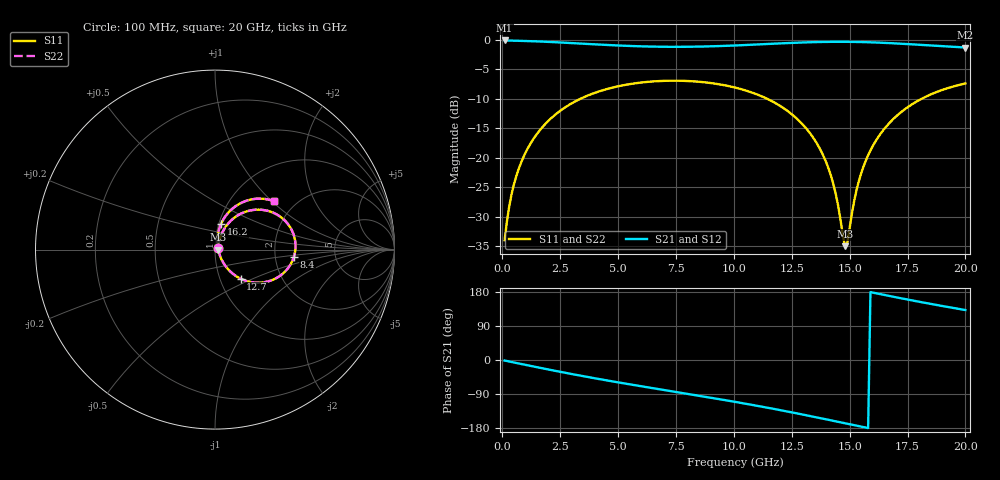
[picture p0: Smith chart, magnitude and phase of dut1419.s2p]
! Touchstone file exported from HFSS 2026.1.0
!  File:  C:/ffzhzh/LocalFiles/Ansys_Project_Files/temp_train_TSV_RDL_1419_1783354206_37376.aedt
!  Generated:  12:18:58 AM Jul  7, 2026
!  Design:  TSV_RDL
!  Project:  temp_train_TSV_RDL_1419_1783354206_37376
! Variables:
!  h_bsmrdl = 5.62um
!  h_ox = 20um
!  h_rdl = 5um
!  h_sub = 83.79um
!  h_tmrdl = 3.45um
!  h_tsv = 83.79um
!  h_via = 3um
!  l_bsmrdl = 103.35um
!  l_sub = 3614.15um
!  l_tmrdl = 689.65um
!  m_sub = 200um
!  pitch = 46.19um
!  r_tsv = 11.51um
!  s_tmrdl = 10um
!  w_bsmrdl = 28.84um
!  w_sub = 500um
!  w_tmrdl = 19.66um
!  x_tsv_center1 = 699.48um
!  x_tsv_center2 = 831.67um
!  x_tsv_center3 = 1540.98um
!  x_tsv_center4 = 1673.17um
!  x_tsv_center5 = 2382.48um
!  x_tsv_center6 = 2514.67um
# GHz S MA R 50.000000
! Terminal data exported
! Port[1] = TM_RDL1_1_T1
! Port[2] = TM_RDL5_1_T1
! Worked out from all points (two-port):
!   200 points, 100 MHz to 20 GHz, reference 50 ohm
!   highest |S21| = -0.14 dB at 100 MHz (marker M1); lowest = -1.3 dB at 20 GHz (marker M2)
!   |S21| within 3 dB of the highest: start of sweep to end of sweep
!   lowest |S11| = -34.9 dB at 14.8 GHz (marker M3), VSWR 1.04, Z = 51.8 + j0.00515 ohm
!   |S11| at or under -10 dB: start of sweep to 3.38 GHz; 11.43 GHz to 18.11 GHz (6.68 GHz wide, 45.2 % of centre)
!   |S22| runs from -34.9 to -6.9 dB; largest |S21 - S12| = 1.7e-14
!   S11 on the Smith chart (normalised r, x): 100 MHz: 1.03, +0.02; 8.4 GHz: 2.55, -0.25; 12.7 GHz: 1.25, -0.43; 16.2 GHz: 1.02, +0.30; 20 GHz: 1.57, +1.03
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0.1  0.0201 35.2  0.9838 -1.3  0.9838 -1.3  0.0201 35.2
! Gamma 0 0 0 0
! Port Impedance 50 0 50 0
0.3  0.03896 59.2  0.9818 -4.0  0.9818 -4.0  0.03896 59.2
0.5  0.05935 65.0  0.9795 -6.5  0.9795 -6.5  0.05935 65.0
1.1  0.1202 66.2  0.9723 -14.1  0.9723 -14.1  0.1202 66.2
2.1  0.2155 57.9  0.9549 -26.4  0.9549 -26.4  0.2155 57.9
3.5  0.3243 43.4  0.9233 -42.7  0.9233 -42.7  0.3243 43.4
6.8  0.4464 10.3  0.8706 -77.4  0.8706 -77.4  0.4464 10.3
8.4  0.4417 -5.1  0.872 -93.4  0.872 -93.4  0.4417 -5.1
10.1  0.3911 -21.8  0.8928 -111.0  0.8928 -111.0  0.3911 -21.8
11.6  0.3047 -37.3  0.9214 -127.6  0.9214 -127.6  0.3047 -37.3
12.7  0.2164 -48.6  0.9418 -140.6  0.9418 -140.6  0.2164 -48.6
13.4  0.1508 -55.0  0.9518 -149.2  0.9518 -149.2  0.1508 -54.9
14.2  0.0699 -56.9  0.9581 -159.3  0.9581 -159.3  0.06992 -56.8
14.5  0.03977 -49.0  0.9588 -163.1  0.9588 -163.1  0.03983 -48.8
14.8  0.01789 0.2  0.9585 -166.9  0.9585 -166.9  0.01803 0.3
14.9  0.01907 32.7  0.9582 -168.2  0.9582 -168.2  0.01921 32.6
15.2  0.0435 72.3  0.9566 -172.0  0.9566 -172.0  0.04358 72.1
15.5  0.0741 78.7  0.954 -175.8  0.954 -175.8  0.07414 78.6
16.2  0.1462 76.9  0.9444 175.4  0.9444 175.4  0.1462 76.8
16.7  0.1954 72.6  0.935 169.2  0.935 169.2  0.1954 72.6
18.1  0.3153 58.4  0.9018 152.6  0.9018 152.6  0.3153 58.4
20  0.4255 39.2  0.8575 131.8  0.8575 131.8  0.4255 39.2
